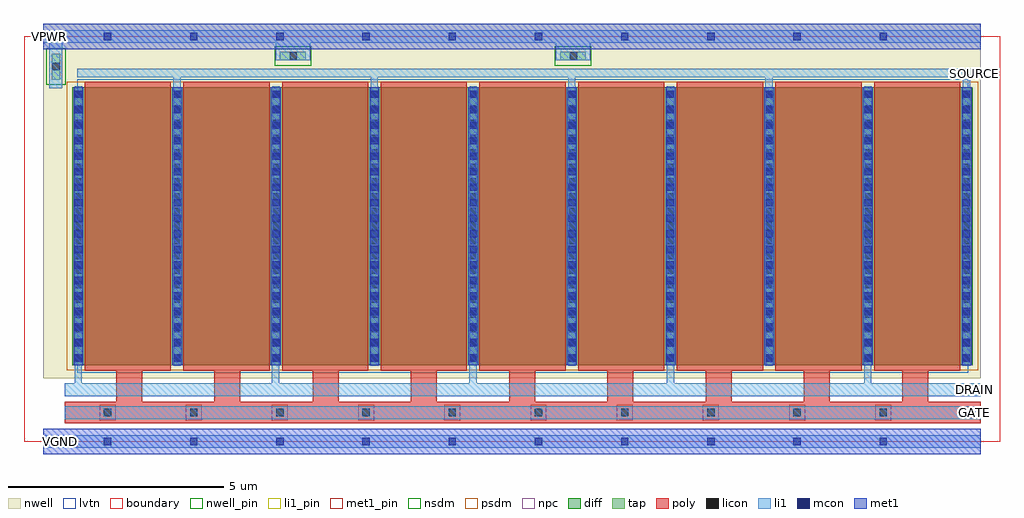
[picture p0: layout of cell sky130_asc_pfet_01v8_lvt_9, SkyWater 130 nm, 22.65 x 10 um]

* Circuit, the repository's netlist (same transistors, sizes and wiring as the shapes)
* NGSPICE file created from sky130_asc_pfet_01v8_lvt_9.ext - technology: sky130A

.subckt sky130_asc_pfet_01v8_lvt_9 GATE SOURCE DRAIN VGND VPWR
X0 DRAIN GATE SOURCE VPWR sky130_fd_pr__pfet_01v8_lvt ad=9.3525e+12p pd=6.74e+07u as=9.3525e+12p ps=6.74e+07u w=6.45e+06u l=2e+06u
X1 SOURCE GATE DRAIN VPWR sky130_fd_pr__pfet_01v8_lvt ad=0p pd=0u as=0p ps=0u w=6.45e+06u l=2e+06u
X2 DRAIN GATE SOURCE VPWR sky130_fd_pr__pfet_01v8_lvt ad=0p pd=0u as=0p ps=0u w=6.45e+06u l=2e+06u
X3 SOURCE GATE DRAIN VPWR sky130_fd_pr__pfet_01v8_lvt ad=0p pd=0u as=0p ps=0u w=6.45e+06u l=2e+06u
X4 DRAIN GATE SOURCE VPWR sky130_fd_pr__pfet_01v8_lvt ad=0p pd=0u as=0p ps=0u w=6.45e+06u l=2e+06u
X5 SOURCE GATE DRAIN VPWR sky130_fd_pr__pfet_01v8_lvt ad=0p pd=0u as=0p ps=0u w=6.45e+06u l=2e+06u
X6 DRAIN GATE SOURCE VPWR sky130_fd_pr__pfet_01v8_lvt ad=0p pd=0u as=0p ps=0u w=6.45e+06u l=2e+06u
X7 SOURCE GATE DRAIN VPWR sky130_fd_pr__pfet_01v8_lvt ad=0p pd=0u as=0p ps=0u w=6.45e+06u l=2e+06u
X8 SOURCE GATE DRAIN VPWR sky130_fd_pr__pfet_01v8_lvt ad=0p pd=0u as=0p ps=0u w=6.45e+06u l=2e+06u
.ends

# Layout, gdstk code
import gdstk
lib = gdstk.Library(unit=1e-6, precision=1e-09)
def R(c, l, rs):  # rectangles x0, y0, x1, y1
    for r in rs: c.add(gdstk.rectangle(r[:2], r[2:], *l))
def A(c, l, x, y, w, h, nx, ny, dx, dy):  # array of equal rectangles
    R(c, l, [(x+i*dx, y+j*dy, x+i*dx+w, y+j*dy+h) for i in range(nx) for j in range(ny)])
nwell_pin = (64, 16)
nwell = (64, 20)
diff = (65, 20)
tap = (65, 44)
poly = (66, 20)
licon = (66, 44)
li1_pin = (67, 16)
li1 = (67, 20)
mcon = (67, 44)
met1_pin = (68, 16)
met1 = (68, 20)
nsdm = (93, 44)
psdm = (94, 20)
npc = (95, 20)
lvtn = (125, 44)
boundary = (235, 4)

sky130_asc_pfet_01v8_lvt = lib.new_cell('sky130_asc_pfet_01v8_lvt_9')
R(sky130_asc_pfet_01v8_lvt, nwell_pin, [(0.45,9.25,0.75,9.55)])
R(sky130_asc_pfet_01v8_lvt, nwell, [(0.94,1.465,22.2,1.47), (0.45,1.47,22.2,9.7)])
R(sky130_asc_pfet_01v8_lvt, diff, [(1.12,1.775,22.02,8.225)])
R(sky130_asc_pfet_01v8_lvt, tap, [(0.64,8.4,0.84,9), (5.94,8.85,6.54,9.05), (12.44,8.85,13.04,9.05)])
A(sky130_asc_pfet_01v8_lvt, poly, 2.14, 0.92, 0.6, 0.725, 9, 1, 2.28, 0)
A(sky130_asc_pfet_01v8_lvt, poly, 1.41, 1.645, 2, 6.71, 9, 1, 2.29, 0)
R(sky130_asc_pfet_01v8_lvt, poly, [(0.94,0.42,22.2,0.92)])
A(sky130_asc_pfet_01v8_lvt, licon, 1.855, 0.585, 0.17, 0.17, 10, 1, 2, 0)
A(sky130_asc_pfet_01v8_lvt, licon, 1.18, 1.855, 0.17, 0.17, 10, 19, 2.29, 0.34)
R(sky130_asc_pfet_01v8_lvt, licon, [(0.655,8.615,0.825,8.785), (6.165,8.865,6.335,9.035), (12.665,8.865,12.835,9.035)])
R(sky130_asc_pfet_01v8_lvt, li1_pin, [(21.9,0.52,22.2,0.82), (21.9,1.05,22.2,1.35), (21.9,8.45,22.2,8.65)])
A(sky130_asc_pfet_01v8_lvt, li1, 1.175, 1.35, 0.17, 0.405, 5, 1, 4.58, 0)
A(sky130_asc_pfet_01v8_lvt, li1, 1.175, 1.755, 0.175, 0.115, 5, 1, 4.58, 0)
A(sky130_asc_pfet_01v8_lvt, li1, 3.47, 1.755, 0.17, 6.375, 5, 1, 4.58, 0)
A(sky130_asc_pfet_01v8_lvt, li1, 1.18, 1.87, 0.17, 6.375, 5, 1, 4.58, 0)
A(sky130_asc_pfet_01v8_lvt, li1, 3.465, 8.13, 0.175, 0.115, 5, 1, 4.58, 0)
A(sky130_asc_pfet_01v8_lvt, li1, 3.465, 8.245, 0.17, 0.205, 5, 1, 4.58, 0)
R(sky130_asc_pfet_01v8_lvt, li1, [(0.45,-0.15,22.2,0.15), (0.94,0.52,22.2,0.82), (0.94,1.05,22.2,1.35), (0.59,8.2,0.89,9.25), (1.24,8.45,22.2,8.65), (5.84,8.85,6.64,9.25), (12.34,8.85,13.14,9.25), (0.45,9.25,22.2,9.55)])
A(sky130_asc_pfet_01v8_lvt, mcon, 1.855, -0.085, 0.17, 0.17, 10, 2, 2, 9.4)
A(sky130_asc_pfet_01v8_lvt, mcon, 1.18, 1.855, 0.17, 0.17, 10, 18, 2.29, 0.36)
R(sky130_asc_pfet_01v8_lvt, met1_pin, [(0.45,-0.15,1.24,0.15)])
A(sky130_asc_pfet_01v8_lvt, met1, 1.15, 1.775, 0.23, 6.45, 10, 1, 2.29, 0)
R(sky130_asc_pfet_01v8_lvt, met1, [(0.45,-0.3,22.2,0.3), (0.45,9.1,22.2,9.7)])
R(sky130_asc_pfet_01v8_lvt, nsdm, [(0.515,8.275,0.965,9.125), (5.815,8.725,6.665,9.175), (12.315,8.725,13.165,9.175)])
R(sky130_asc_pfet_01v8_lvt, psdm, [(0.995,1.65,22.145,8.35)])
A(sky130_asc_pfet_01v8_lvt, npc, 1.755, 0.485, 0.37, 0.37, 10, 1, 2, 0)
R(sky130_asc_pfet_01v8_lvt, lvtn, [(1.23,1.595,21.91,8.405)])
R(sky130_asc_pfet_01v8_lvt, boundary, [(0,0,22.65,9.4)])
sky130_asc_pfet_01v8_lvt.add(gdstk.Label('GATE', (22.05,0.67), layer=67, texttype=16))
sky130_asc_pfet_01v8_lvt.add(gdstk.Label('SOURCE', (22.05,8.55), layer=67, texttype=16))
sky130_asc_pfet_01v8_lvt.add(gdstk.Label('DRAIN', (22.05,1.2), layer=67, texttype=16))
sky130_asc_pfet_01v8_lvt.add(gdstk.Label('VPWR', (0.6,9.4), layer=64, texttype=16))
sky130_asc_pfet_01v8_lvt.add(gdstk.Label('VGND', (0.845,0), layer=68, texttype=16))

lib.write_gds('sky130_asc_pfet_01v8_lvt_9.gds')
